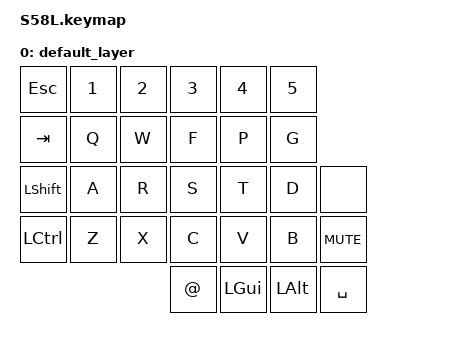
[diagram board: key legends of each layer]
/*
 * Copyright (c) 2022 The ZMK Contributors
 *
 * SPDX-License-Identifier: MIT
 */

#include <behaviors.dtsi>
#include <dt-bindings/zmk/keys.h>
#include <dt-bindings/zmk/bt.h>
#include <dt-bindings/zmk/outputs.h>

/ {
    combos {
        compatible = "zmk,combos";
        combo_0 {
            timeout-ms = <50>;
            key-positions = <1 2 3>;
            bindings = <&bt BT_CLR>;
        };
        combo_1 {
            timeout-ms = <50>;
            key-positions = <5 6>;
            bindings = <&bt BT_SEL 0>;
        };
        combo_2 {
            timeout-ms = <50>;
            key-positions = <10 11 12>;
            bindings = <&bootloader>;
        };
        combo_3 {
            timeout-ms = <50>;
            key-positions = <7 8>;
            bindings = <&sys_reset>;
        };
    };

    keymap {
        compatible = "zmk,keymap";

        default_layer {
            bindings = <
                &kp ESC     &kp N1      &kp N2      &kp N3      &kp N4      &kp N5 
                &kp TAB     &kp Q       &kp W       &kp F       &kp P       &kp G  
                &kp LSHFT   &kp A       &kp R       &kp S       &kp T       &kp D       &none 
                &kp LCTRL   &kp Z       &kp X       &kp C       &kp V       &kp B       &kp C_MUTE 
                                                    &kp AT      &kp LGUI    &kp LALT    &kp SPACE
            >;
        };
    };
};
